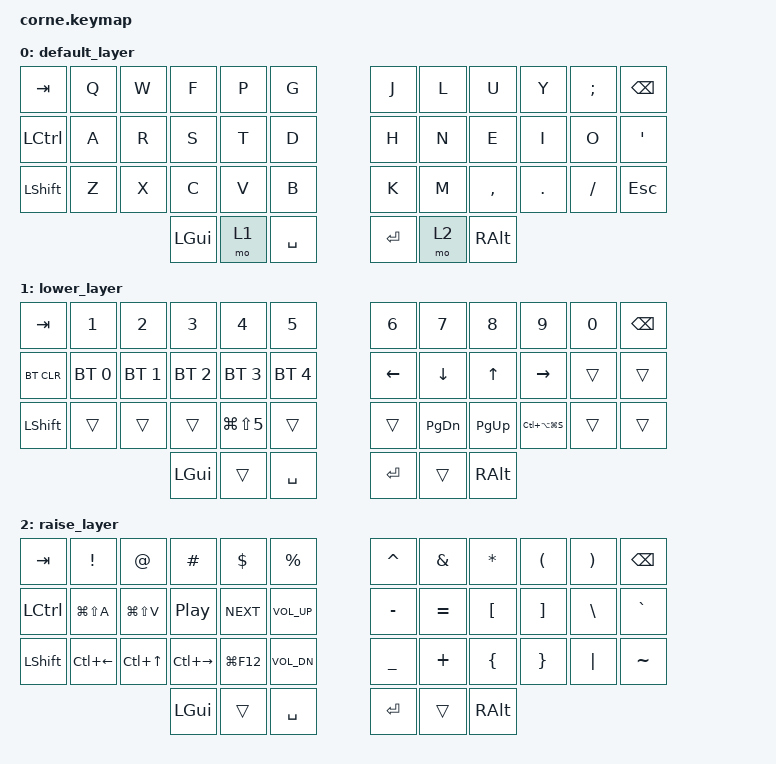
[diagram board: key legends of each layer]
/*
 * Copyright (c) 2020 The ZMK Contributors
 *
 * SPDX-License-Identifier: MIT
 */

#include <behaviors.dtsi>
#include <dt-bindings/zmk/keys.h>
#include <dt-bindings/zmk/bt.h>

/ {
        keymap {
                compatible = "zmk,keymap";

                default_layer {
// -------------------------------------------------------------------------------------
// |  TAB |  Q  |  W  |  F  |  P  |  G  |   |  J  |  L  |  U  |  Y  |  ;  | BSPC |
// | CTRL |  A  |  R  |  S  |  T  |  D  |   |  H  |  N  |  E  |  I  |  O  |  '   |
// | SHFT |  Z  |  X  |  C  |  V  |  B  |   |  K  |  M  |  ,  |  .  |  /  | ESC  |
//                    | GUI | LWR | SPC |   | ENT | RSE | ALT |
                        bindings = <
   &kp TAB    &kp Q        &kp W        &kp F            &kp P          &kp G          &kp J     &kp L     &kp U     &kp Y     &kp SEMI &kp BSPC
   &kp LCTRL  &kp A        &kp R        &kp S            &kp T          &kp D          &kp H     &kp N     &kp E     &kp I     &kp O    &kp SQT
   &kp LSHFT  &kp Z        &kp X        &kp C            &kp V          &kp B          &kp K     &kp M     &kp COMMA &kp DOT   &kp FSLH &kp ESC
                                        &kp LGUI         &mo 1          &kp SPACE      &kp RET   &mo 2     &kp RALT
                        >;
                };

                lower_layer {
// -------------------------------------------------------------------------------------
// |  TAB |  1  |  2  |  3  |  4  |  5  |   |  6  |  7  |  8  |  9  |  0  | BSPC |
// | BTCLR| BT0 | BT1 | BT2 | BT3 | BT4 |   | LFT | DWN | UP  | RGT |     |      |
// | SHFT |     |     |     | SS  |     |   |     | PGDN| PGUP|OUTSW|     |      |
//                    | GUI |  -  | SPC |   | ENT |  -  | ALT |
                        bindings = <
   &kp TAB    &kp N1       &kp N2       &kp N3           &kp N4         &kp N5         &kp N6    &kp N7    &kp N8    &kp N9    &kp N0   &kp BSPC
   &bt BT_CLR &bt BT_SEL 0 &bt BT_SEL 1 &bt BT_SEL 2     &bt BT_SEL 3   &bt BT_SEL 4   &kp LEFT  &kp DOWN  &kp UP    &kp RIGHT &trans   &trans
   &kp LSHFT  &trans       &trans       &trans           &kp LG(LS(N5)) &trans         &trans    &kp PG_DN &kp PG_UP &kp LC(LA(LG(S))) &trans   &trans
                                        &kp LGUI         &trans         &kp SPACE      &kp RET   &trans    &kp RALT
                        >;
                };

                raise_layer {
// -------------------------------------------------------------------------------------
// |  TAB |  !  |  @  |  #  |  $  |  %  |   |  ^  |  &  |  *  |  (  |  )  | BSPC |
// | CTRL | MUTE| VID | PLAY| NEXT| VUP |   |  -  |  =  |  [  |  ]  |  \  |  `   |
// | SHFT | DSKL| MSN | DSKR| DICT| VDN |   |  _  |  +  |  {  |  }  | "|" |  ~   |
//                    | GUI |  -  | SPC |   | ENT |  -  | ALT |
                        bindings = <
   &kp TAB    &kp EXCL      &kp AT        &kp HASH         &kp DLLR       &kp PRCNT      &kp CARET &kp AMPS  &kp ASTRK &kp LPAR  &kp RPAR &kp BSPC
   &kp LCTRL  &kp LG(LS(A)) &kp LG(LS(V)) &kp C_PLAY_PAUSE &kp C_NEXT     &kp C_VOL_UP   &kp MINUS &kp EQUAL &kp LBKT  &kp RBKT  &kp BSLH &kp GRAVE
   &kp LSHFT  &kp LC(LEFT)  &kp LC(UP)    &kp LC(RIGHT)    &kp LG(F12)    &kp C_VOL_DN   &kp UNDER &kp PLUS  &kp LBRC  &kp RBRC  &kp PIPE &kp TILDE
                                        &kp LGUI         &trans         &kp SPACE      &kp RET   &trans    &kp RALT
                        >;
                };
        };
};
